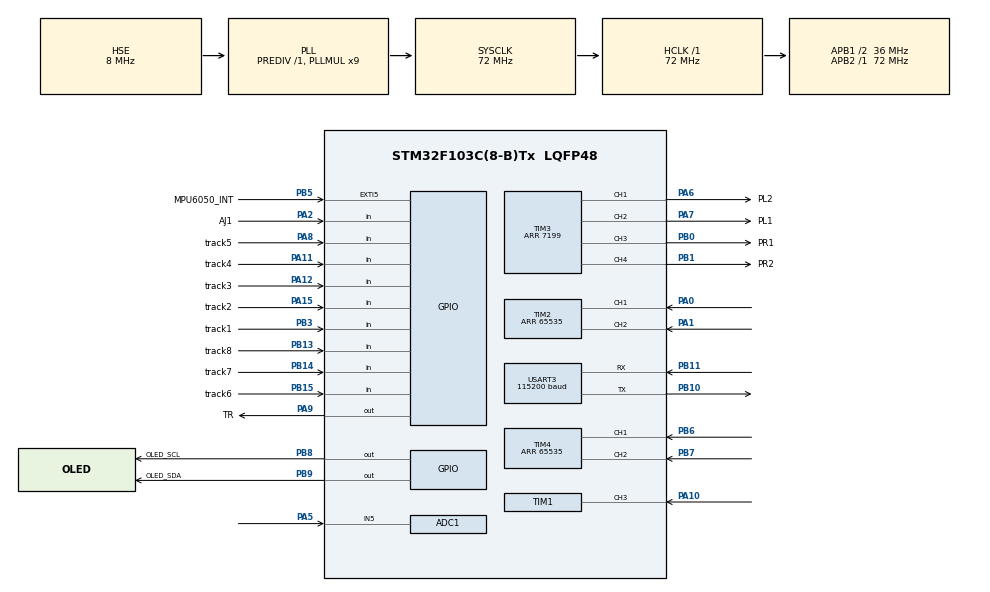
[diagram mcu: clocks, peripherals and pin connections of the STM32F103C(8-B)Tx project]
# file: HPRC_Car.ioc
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ADC1.Channel-1\#ChannelRegularConversion=ADC_CHANNEL_5
ADC1.NbrOfConversionFlag=1
ADC1.Rank-1\#ChannelRegularConversion=1
ADC1.SamplingTime-1\#ChannelRegularConversion=ADC_SAMPLETIME_1CYCLE_5
ADC1.master=1
Mcu.Family=STM32F1
Mcu.Name=STM32F103C(8-B)Tx
Mcu.Package=LQFP48
NVIC.EXTI9_5_IRQn=true\:0\:0\:false\:false\:true\:true\:true\:true
NVIC.PriorityGroup=NVIC_PRIORITYGROUP_4
NVIC.TIM1_CC_IRQn=true\:0\:0\:false\:false\:true\:true\:true\:true
NVIC.USART3_IRQn=true\:0\:0\:false\:false\:true\:true\:true\:true
PA0-WKUP.Signal=S_TIM2_CH1_ETR
PA1.Signal=S_TIM2_CH2
PA10.Signal=S_TIM1_CH3
PA11.GPIO_Label=track4
PA11.Signal=GPIO_Input
PA12.GPIO_Label=track3
PA12.Signal=GPIO_Input
PA13.Mode=Serial_Wire
PA13.Signal=SYS_JTMS-SWDIO
PA14.Mode=Serial_Wire
PA14.Signal=SYS_JTCK-SWCLK
PA15.GPIO_Label=track2
PA15.Signal=GPIO_Input
PA2.GPIO_Label=AJ1
PA2.Signal=GPIO_Input
PA5.Signal=ADCx_IN5
PA6.GPIO_Label=PL2
PA6.Signal=S_TIM3_CH1
PA7.GPIO_Label=PL1
PA7.Signal=S_TIM3_CH2
PA8.GPIO_Label=track5
PA8.Signal=GPIO_Input
PA9.GPIO_Label=TR
PA9.GPIO_Speed=GPIO_SPEED_FREQ_HIGH
PA9.Signal=GPIO_Output
PB0.GPIO_Label=PR1
PB0.Signal=S_TIM3_CH3
PB1.GPIO_Label=PR2
PB1.Signal=S_TIM3_CH4
PB10.Mode=Asynchronous
PB10.Signal=USART3_TX
PB11.Mode=Asynchronous
PB11.Signal=USART3_RX
PB13.GPIO_Label=track8
PB13.Signal=GPIO_Input
PB14.GPIO_Label=track7
PB14.Signal=GPIO_Input
PB15.GPIO_Label=track6
PB15.Signal=GPIO_Input
PB3.GPIO_Label=track1
PB3.Signal=GPIO_Input
PB5.GPIO_Label=MPU6050_INT
PB5.GPIO_PuPd=GPIO_NOPULL
PB5.Signal=GPXTI5
PB6.Signal=S_TIM4_CH1
PB7.Signal=S_TIM4_CH2
PB8.GPIO_Label=OLED_SCL
PB8.GPIO_ModeDefaultOutputPP=GPIO_MODE_OUTPUT_OD
PB8.GPIO_Speed=GPIO_SPEED_FREQ_HIGH
PB8.Signal=GPIO_Output
PB9.GPIO_Label=OLED_SDA
PB9.GPIO_ModeDefaultOutputPP=GPIO_MODE_OUTPUT_OD
PB9.GPIO_Speed=GPIO_SPEED_FREQ_HIGH
PB9.Signal=GPIO_Output
PD0-OSC_IN.Mode=HSE-External-Oscillator
PD0-OSC_IN.Signal=RCC_OSC_IN
PD1-OSC_OUT.Mode=HSE-External-Oscillator
PD1-OSC_OUT.Signal=RCC_OSC_OUT
ProjectManager.HeapSize=0x200
ProjectManager.StackSize=0x400
ProjectManager.TargetToolchain=MDK-ARM V5.32
RCC.ADCPresc=RCC_ADCPCLK2_DIV6
RCC.AHBFreq_Value=72000000
RCC.APB1CLKDivider=RCC_HCLK_DIV2
RCC.APB1Freq_Value=36000000
RCC.APB1TimFreq_Value=72000000
RCC.APB2Freq_Value=72000000
RCC.APB2TimFreq_Value=72000000
RCC.HCLKFreq_Value=72000000
RCC.PLLMUL=RCC_PLL_MUL9
RCC.PLLSourceVirtual=RCC_PLLSOURCE_HSE
RCC.SYSCLKFreq_VALUE=72000000
RCC.SYSCLKSource=RCC_SYSCLKSOURCE_PLLCLK
RCC.USBFreq_Value=72000000
SH.ADCx_IN5.0=ADC1_IN5,IN5
SH.S_TIM1_CH3.0=TIM1_CH3,Input_Capture3_from_TI3
SH.S_TIM2_CH1_ETR.0=TIM2_CH1,Encoder_Interface
SH.S_TIM2_CH2.0=TIM2_CH2,Encoder_Interface
SH.S_TIM3_CH1.0=TIM3_CH1,PWM Generation1 CH1
SH.S_TIM3_CH2.0=TIM3_CH2,PWM Generation2 CH2
SH.S_TIM3_CH3.0=TIM3_CH3,PWM Generation3 CH3
SH.S_TIM3_CH4.0=TIM3_CH4,PWM Generation4 CH4
SH.S_TIM4_CH1.0=TIM4_CH1,Encoder_Interface
SH.S_TIM4_CH2.0=TIM4_CH2,Encoder_Interface
TIM1.Channel-Input_Capture3_from_TI3=TIM_CHANNEL_3
TIM1.Prescaler=71
TIM2.AutoReloadPreload=TIM_AUTORELOAD_PRELOAD_ENABLE
TIM2.EncoderMode=TIM_ENCODERMODE_TI12
TIM2.Period=65535
TIM3.Channel-PWM\ Generation1\ CH1=TIM_CHANNEL_1
TIM3.Channel-PWM\ Generation2\ CH2=TIM_CHANNEL_2
TIM3.Channel-PWM\ Generation3\ CH3=TIM_CHANNEL_3
TIM3.Channel-PWM\ Generation4\ CH4=TIM_CHANNEL_4
TIM3.Period=7199
TIM4.AutoReloadPreload=TIM_AUTORELOAD_PRELOAD_ENABLE
TIM4.EncoderMode=TIM_ENCODERMODE_TI12
TIM4.Period=65535
USART3.BaudRate=115200
USART3.VirtualMode=VM_ASYNC
board=custom

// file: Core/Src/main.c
/* USER CODE BEGIN Header */
/**
  ******************************************************************************
  * @file           : main.c
  * @brief          : Main program body
  ******************************************************************************
  * @attention
  *
  * <h2><center>&copy; Copyright (c) 2025 STMicroelectronics.
  * All rights reserved.</center></h2>
  *
  * This software component is licensed by ST under BSD 3-Clause license,
  * the "License"; You may not use this file except in compliance with the
  * License. You may obtain a copy of the License at:
  *                        opensource.org/licenses/BSD-3-Clause
  *
  ******************************************************************************
  */
/* USER CODE END Header */
#include "main.h"
#include "adc.h"
#include "tim.h"
#include "usart.h"
#include "gpio.h"

/* USER CODE BEGIN Includes */
#include "HAL_OLED.h"
#include "HRSR04.h"
#include "control.h"
#include "badc.h"
#include "encoder.h"
#include "control.h"
/* USER CODE END Includes */

/* USER CODE BEGIN PV */
char Serial_RxPacket[100];
uint8_t Serial_RxFlag;
uint8_t RxData;
/* USER CODE END PV */

void SystemClock_Config(void);
/* USER CODE BEGIN PFP */
uint8_t Get_ID(void);
float Data_Cauculate(char *arr);
/* USER CODE END PFP */

int main(void)
{

  /* MCU Configuration--------------------------------------------------------*/

  /* Reset of all peripherals, Initializes the Flash interface and the Systick. */
  HAL_Init();

  /* Configure the system clock */
  SystemClock_Config();

  /* Initialize all configured peripherals */
  MX_GPIO_Init();
  MX_USART3_UART_Init();
  MX_TIM3_Init();
  MX_TIM1_Init();
  MX_ADC1_Init();
  MX_TIM2_Init();
  MX_TIM4_Init();
  /* USER CODE BEGIN 2 */
  OLED_Init();
  Control_Init();

  /* 启动超声波模块的定时器 */
  HAL_TIM_IC_Start_IT(&htim1, TIM_CHANNEL_3);

  /* 启动编码器模块的定时器 */
  HAL_TIM_Encoder_Start(&htim2,TIM_CHANNEL_ALL);
	HAL_TIM_Encoder_Start(&htim4,TIM_CHANNEL_ALL);

  HAL_UART_Receive_IT(&huart3, &RxData, 1);
  /* USER CODE END 2 */

  /* Infinite loop */
  /* USER CODE BEGIN WHILE */

  // OLED_ShowString(1,1,"L:");
  // OLED_ShowString(1,9,"R:");
  // OLED_ShowString(2,1,"Distance:");
  // OLED_ShowString(3,1,"Tracks:");
  // SetSpeed_Left(0);
  // SetSpeed_Right();

  // int left_speed  = 0;
  // int right_speed = 0;
  // uint32_t distance;

  while (1)
  {
    //left_encoder_speed = get_left_encoder_speed();
    //right_encoder_speed = get_right_encoder_speed();
    // left_speed  = get_left_encoder_speed();
    // right_speed = get_right_encoder_speed();
    // OLED_ShowSignedNum(1, 8, left_speed, 4);
    // OLED_ShowSignedNum(2, 8, right_speed, 4);

    // distance = Ultrasonic_GetDistance();
    // OLED_ShowNum(3, 10, distance, 3);

    //vofa串口显示部分
    /*****************/
    if (Serial_RxFlag == 1)
		{
			float result = Data_Cauculate(Serial_RxPacket);
			uint8_t command = Get_ID();
			switch(command)
			{
				case 7:target_speed = result;break;
			}
			Serial_RxFlag = 0;
		}

    //printf("%d,%d,%d\n",target_speed,left_encoder_speed,-right_encoder_speed);

    /*****************/
    // OLED_ShowSignedNum(1, 3, left_encoder_speed, 4);
    // OLED_ShowSignedNum(1, 11, right_encoder_speed, 4);

    run();
    /* USER CODE END WHILE */

  }
}

void SystemClock_Config(void)
{
  RCC_OscInitTypeDef RCC_OscInitStruct = {0};
  RCC_ClkInitTypeDef RCC_ClkInitStruct = {0};
  RCC_PeriphCLKInitTypeDef PeriphClkInit = {0};

  /** Initializes the RCC Oscillators according to the specified parameters
  * in the RCC_OscInitTypeDef structure.
  */
  RCC_OscInitStruct.OscillatorType = RCC_OSCILLATORTYPE_HSE;
  RCC_OscInitStruct.HSEState = RCC_HSE_ON;
  RCC_OscInitStruct.HSEPredivValue = RCC_HSE_PREDIV_DIV1;
  RCC_OscInitStruct.HSIState = RCC_HSI_ON;
  RCC_OscInitStruct.PLL.PLLState = RCC_PLL_ON;
  RCC_OscInitStruct.PLL.PLLSource = RCC_PLLSOURCE_HSE;
  RCC_OscInitStruct.PLL.PLLMUL = RCC_PLL_MUL9;
  if (HAL_RCC_OscConfig(&RCC_OscInitStruct) != HAL_OK)
  {
    Error_Handler();
  }

  /** Initializes the CPU, AHB and APB buses clocks
  */
  RCC_ClkInitStruct.ClockType = RCC_CLOCKTYPE_HCLK|RCC_CLOCKTYPE_SYSCLK
                              |RCC_CLOCKTYPE_PCLK1|RCC_CLOCKTYPE_PCLK2;
  RCC_ClkInitStruct.SYSCLKSource = RCC_SYSCLKSOURCE_PLLCLK;
  RCC_ClkInitStruct.AHBCLKDivider = RCC_SYSCLK_DIV1;
  RCC_ClkInitStruct.APB1CLKDivider = RCC_HCLK_DIV2;
  RCC_ClkInitStruct.APB2CLKDivider = RCC_HCLK_DIV1;

  if (HAL_RCC_ClockConfig(&RCC_ClkInitStruct, FLASH_LATENCY_2) != HAL_OK)
  {
    Error_Handler();
  }
  PeriphClkInit.PeriphClockSelection = RCC_PERIPHCLK_ADC;
  PeriphClkInit.AdcClockSelection = RCC_ADCPCLK2_DIV6;
  if (HAL_RCCEx_PeriphCLKConfig(&PeriphClkInit) != HAL_OK)
  {
    Error_Handler();
  }
}

/* USER CODE BEGIN 4 */

uint8_t ID_Num = 0;
uint8_t Bit_cnt;
void HAL_UART_RxCpltCallback(UART_HandleTypeDef *huart)
{
    static uint8_t RxState = 0;
	  static uint8_t pRxPacket = 0;
		if (RxState == 0)
		{
			if (RxData == '#' && Serial_RxFlag == 0)
			{
				RxState = 1;
				pRxPacket = 0;
			}
		}
		else if(RxState == 1)
		{
			if(RxData == 'P')
			{
				RxState = 2;
			}
		}
		else if(RxState == 2)
		{
			if(RxData == '=')
			{
				RxState = 3;
			}
			else
			{
				ID_Num = RxData - '0';
			}
		}
		else if (RxState == 3)
		{
			if (RxData == '!')
			{

				RxState = 0;
				Serial_RxPacket[pRxPacket] = '\0';
				Bit_cnt = pRxPacket;
				Serial_RxFlag = 1;
			}
			else
			{
				Serial_RxPacket[pRxPacket] = RxData;
				pRxPacket++;
			}
		}
    HAL_UART_Receive_IT(&huart3, &RxData, 1);
}

uint8_t Get_ID(void)
{
	return ID_Num;
}

float Pow_Invert(uint8_t X, uint8_t n)
{
	float result = X;
	while(n--)
	{
		result /= 10;
	}
	return result;
}

//已测试cauculate函数计算没问题
float Data_Cauculate(char *arr)
{

	float Data = 0;
	uint8_t Dot_Flag = 0;
	float Dot_afternum = 1;

	for(uint8_t i = 0; i < Bit_cnt; i++)
	{
		if(Dot_Flag == 0)
		{
			if(arr[i] == '.')//'.'
			{
				Dot_Flag = 1;
			}
			else
			{
				Data = Data * 10 + arr[i] - '0';
			}
		}
		else
		{
			Data = Data + Pow_Invert(arr[i] - '0', Dot_afternum);
			Dot_afternum++;
		}
	}
	return Data;
}

int fputc(int ch, FILE *f)
{
  HAL_UART_Transmit(&huart3, (uint8_t *)&ch, 1, 0xffff);
  return ch;
}

/* USER CODE END 4 */

void Error_Handler(void)
{
  __disable_irq();
  while (1)
  {
  }
}
